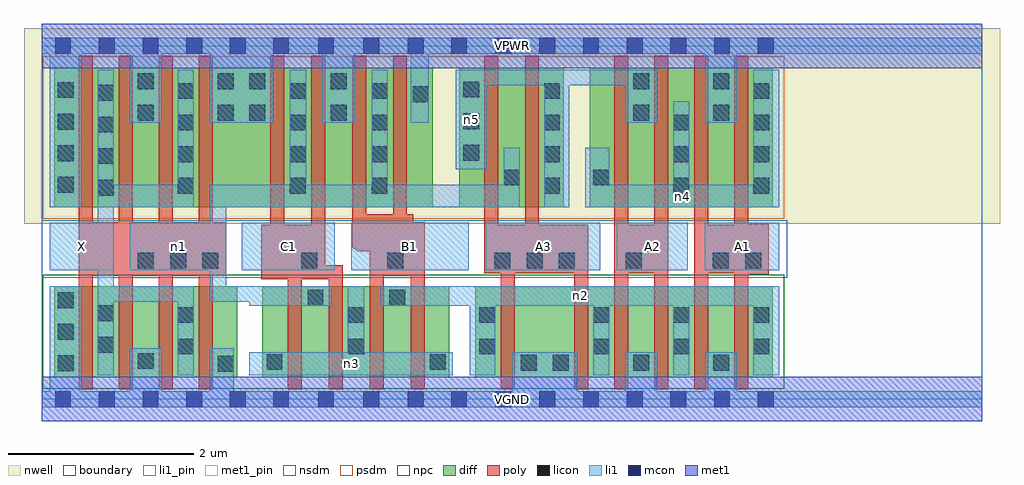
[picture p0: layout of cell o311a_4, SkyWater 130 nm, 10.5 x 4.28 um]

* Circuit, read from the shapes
.subckt o311a_4 A1 A2 A3 B1 C1 VGND VPWR X n1 n2 n3 n4 n5
XM1 X n1 VGND VSUBS sky130_fd_pr__nfet_01v8 w=0.98 l=0.15 m=4
XM2 n1 C1 n3 VSUBS sky130_fd_pr__nfet_01v8 w=0.98 l=0.15 m=2
XM3 n2 B1 n3 VSUBS sky130_fd_pr__nfet_01v8 w=0.98 l=0.15 m=2
XM4 VGND A3 n2 VSUBS sky130_fd_pr__nfet_01v8 w=0.98 l=0.15 m=2
XM5 VGND A2 n2 VSUBS sky130_fd_pr__nfet_01v8 w=0.98 l=0.15 m=2
XM6 VGND A1 n2 VSUBS sky130_fd_pr__nfet_01v8 w=0.98 l=0.15 m=2
XM7 X n1 VPWR n6 sky130_fd_pr__pfet_01v8 w=1.5 l=0.15 m=4
XM8 n1 C1 VPWR n6 sky130_fd_pr__pfet_01v8 w=1.5 l=0.15 m=2
XM9 n1 B1 VPWR n6 sky130_fd_pr__pfet_01v8 w=1.5 l=0.15 m=2
XM10 n1 A3 n5 n6 sky130_fd_pr__pfet_01v8 w=1.5 l=0.15 m=2
XM11 n5 A2 n4 n6 sky130_fd_pr__pfet_01v8 w=1.5 l=0.15 m=2
XM12 VPWR A1 n4 n6 sky130_fd_pr__pfet_01v8 w=1.5 l=0.15 m=2
.ends

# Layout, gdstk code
import gdstk
lib = gdstk.Library(unit=1e-6, precision=1e-09)
def R(c, l, rs):  # rectangles x0, y0, x1, y1
    for r in rs: c.add(gdstk.rectangle(r[:2], r[2:], *l))
def A(c, l, x, y, w, h, nx, ny, dx, dy):  # array of equal rectangles
    R(c, l, [(x+i*dx, y+j*dy, x+i*dx+w, y+j*dy+h) for i in range(nx) for j in range(ny)])
nwell = (64, 20)
diff = (65, 20)
poly = (66, 20)
licon = (66, 44)
li1_pin = (67, 16)
li1 = (67, 20)
mcon = (67, 44)
met1_pin = (68, 16)
met1 = (68, 20)
nsdm = (93, 44)
psdm = (94, 20)
npc = (95, 20)
boundary = (235, 4)

o311a_4 = lib.new_cell('o311a_4')
R(o311a_4, nwell, [(-0.19,1.885,10.31,3.99), (0,1.885,10.12,3.99)])
R(o311a_4, diff, [(0.135,0.235,2.105,1.215), (2.375,0.235,4.385,1.215), (4.665,0.235,7.865,1.215), (0.135,2.065,4.205,3.565), (4.495,2.065,5.615,3.565), (5.895,2.065,7.865,3.565)])
A(o311a_4, poly, 0.4, 0.105, 0.15, 3.59, 4, 1, 0.43, 0)
A(o311a_4, poly, 6.16, 0.105, 0.15, 3.59, 4, 1, 0.43, 0)
R(o311a_4, poly, [(2.65,0.105,2.8,1.875), (3.09,0.105,3.24,1.44), (3.53,0.105,3.68,1.99), (3.97,0.105,4.12,1.905), (4.94,0.105,5.09,1.875), (5.73,0.105,5.88,1.875), (2.36,1.29,3.05,1.875), (2.36,1.29,3.24,1.44), (2.46,1.29,2.61,3.695), (2.9,1.29,3.05,3.695), (0.4,1.325,1.985,1.905), (3.53,1.325,4.12,1.905), (3.78,1.325,3.93,3.695), (7.45,1.345,7.82,1.885), (4.76,1.355,5.88,1.875), (4.76,1.355,4.91,3.695), (5.2,1.355,5.35,3.695), (6.16,1.355,6.74,1.875), (7.02,1.355,7.82,1.875), (3.4,1.59,4.12,1.905), (3.395,1.595,4.12,1.905), (3.39,1.6,4.12,1.905), (3.38,1.605,4.12,1.905), (3.375,1.61,4.12,1.905), (3.37,1.615,4.12,1.905), (3.36,1.62,4.12,1.905), (3.35,1.625,4.12,1.905), (3.34,1.63,3.49,3.695), (3.34,1.63,4,1.99)])
A(o311a_4, licon, 0.175, 0.3, 0.17, 0.17, 1, 3, 0, 0.34)
A(o311a_4, licon, 5.935, 0.48, 0.17, 0.17, 3, 2, 0.86, 0.34)
A(o311a_4, licon, 0.605, 2.19, 0.17, 0.17, 1, 4, 0, 0.34)
A(o311a_4, licon, 1.465, 2.21, 0.17, 0.17, 1, 4, 0, 0.34)
A(o311a_4, licon, 2.67, 2.21, 0.17, 0.17, 1, 4, 0, 0.34)
A(o311a_4, licon, 3.55, 2.21, 0.17, 0.17, 1, 4, 0, 0.34)
A(o311a_4, licon, 5.405, 2.21, 0.17, 0.17, 1, 4, 0, 0.34)
A(o311a_4, licon, 6.795, 2.21, 0.17, 0.17, 1, 3, 0, 0.34)
A(o311a_4, licon, 7.655, 2.21, 0.17, 0.17, 1, 4, 0, 0.34)
A(o311a_4, licon, 0.175, 2.22, 0.17, 0.17, 1, 4, 0, 0.34)
A(o311a_4, licon, 4.535, 2.565, 0.17, 0.17, 1, 3, 0, 0.34)
R(o311a_4, licon, [(1.895,0.295,2.065,0.465), (5.155,0.305,5.325,0.475), (5.5,0.305,5.67,0.475), (6.365,0.305,6.535,0.475), (7.225,0.305,7.395,0.475), (2.42,0.315,2.59,0.485), (4.175,0.315,4.345,0.485), (1.035,0.325,1.205,0.495), (1.465,0.48,1.635,0.65), (3.3,0.48,3.47,0.65), (4.71,0.48,4.88,0.65), (0.605,0.5,0.775,0.67), (1.465,0.82,1.635,0.99), (3.3,0.82,3.47,0.99), (4.71,0.82,4.88,0.99), (0.605,0.84,0.775,1.01), (2.86,1.005,3.03,1.175), (3.74,1.005,3.91,1.175), (1.035,1.405,1.205,1.575), (1.385,1.405,1.555,1.575), (1.73,1.405,1.9,1.575), (2.795,1.405,2.965,1.575), (3.72,1.405,3.89,1.575), (4.87,1.405,5.04,1.575), (5.22,1.405,5.39,1.575), (5.565,1.405,5.735,1.575), (6.285,1.405,6.455,1.575), (7.22,1.405,7.39,1.575), (7.57,1.405,7.74,1.575), (4.97,2.3,5.14,2.47), (5.935,2.3,6.105,2.47), (1.035,2.995,1.205,3.165), (1.895,2.995,2.065,3.165), (2.235,2.995,2.405,3.165), (3.11,2.995,3.28,3.165), (6.365,2.995,6.535,3.165), (7.225,2.995,7.395,3.165), (3.99,3.195,4.16,3.365), (1.035,3.335,1.205,3.505), (1.895,3.335,2.065,3.505), (2.235,3.335,2.405,3.505), (3.11,3.335,3.28,3.505), (6.365,3.335,6.535,3.505), (7.225,3.335,7.395,3.505)])
R(o311a_4, li1_pin, [(0.085,1.385,0.775,1.895), (2.155,1.385,3.155,1.895), (3.33,1.385,4.595,1.895), (4.78,1.385,6.01,1.895), (6.185,1.385,6.95,1.895), (7.135,1.385,7.935,1.895)])
R(o311a_4, li1, [(0,-0.085,10.12,0.085), (0.085,-0.085,0.43,1.215), (0.95,-0.085,1.29,0.545), (1.81,-0.085,2.065,0.545), (5.06,-0.085,5.76,0.505), (6.28,-0.085,6.62,0.505), (7.14,-0.085,7.48,0.505), (0.605,0.255,0.775,3.545), (1.465,0.255,1.635,1.215), (2.235,0.255,4.425,0.505), (3.295,0.255,3.47,1.215), (4.605,0.255,4.88,1.215), (5.935,0.255,6.105,1.215), (6.795,0.255,6.965,1.215), (7.655,0.255,7.935,1.215), (2.235,1.005,3.12,1.215), (3.65,1.005,7.935,1.215), (0.605,1.045,1.635,1.215), (1.81,1.045,3.12,1.215), (1.81,1.045,1.985,2.305), (0.085,1.385,0.775,1.895), (0.95,1.385,1.985,1.895), (2.155,1.385,3.155,1.895), (3.33,1.385,4.595,1.895), (4.78,1.385,6.01,1.895), (6.185,1.385,6.95,1.895), (7.135,1.385,7.935,1.895), (0.085,2.065,0.43,3.885), (0.605,2.065,1.635,2.305), (1.465,2.065,1.635,3.545), (1.81,2.065,5.145,2.305), (2.67,2.065,2.845,3.545), (3.55,2.065,3.725,3.545), (4.97,2.065,5.145,2.705), (5.405,2.065,5.675,3.545), (5.85,2.065,7.935,2.305), (5.85,2.065,6.105,2.705), (6.795,2.065,6.965,3.205), (7.655,2.065,7.935,3.545), (4.455,2.475,4.79,3.545), (0.95,2.975,1.29,3.885), (1.81,2.975,2.49,3.885), (3.02,2.975,3.37,3.885), (3.97,2.975,4.165,3.885), (6.28,2.975,6.62,3.545), (7.14,2.975,7.48,3.885), (4.455,3.375,6.62,3.545), (0,3.715,10.12,3.885)])
A(o311a_4, mcon, 0.145, -0.085, 0.17, 0.17, 5, 2, 0.47, 3.8)
A(o311a_4, mcon, 2.49, -0.085, 0.17, 0.17, 3, 2, 0.485, 3.8)
A(o311a_4, mcon, 4.405, -0.085, 0.17, 0.17, 3, 2, 0.475, 3.8)
A(o311a_4, mcon, 5.825, -0.085, 0.17, 0.17, 5, 2, 0.47, 3.8)
R(o311a_4, mcon, [(3.94,-0.085,4.11,0.085), (3.94,3.715,4.11,3.885)])
R(o311a_4, met1_pin, [(0,-0.24,10.12,0.24), (0,3.56,10.12,4.04)])
R(o311a_4, met1, [(0,-0.24,10.12,0.24), (0,3.56,10.12,4.04)])
R(o311a_4, nsdm, [(0.01,0.11,7.99,1.34)])
R(o311a_4, psdm, [(0.01,1.94,7.99,3.69)])
R(o311a_4, npc, [(0,1.305,8.02,1.925)])
R(o311a_4, boundary, [(0,0,10.12,3.8)])
o311a_4.add(gdstk.Label('A1', (7.535,1.64), layer=67, texttype=5))
o311a_4.add(gdstk.Label('A2', (6.567,1.64), layer=67, texttype=5))
o311a_4.add(gdstk.Label('A3', (5.395,1.64), layer=67, texttype=5))
o311a_4.add(gdstk.Label('B1', (3.962,1.64), layer=67, texttype=5))
o311a_4.add(gdstk.Label('C1', (2.655,1.64), layer=67, texttype=5))
o311a_4.add(gdstk.Label('X', (0.43,1.64), layer=67, texttype=5))
o311a_4.add(gdstk.Label('n3', (3.33,0.38), layer=67, texttype=5))
o311a_4.add(gdstk.Label('n2', (5.792,1.11), layer=67, texttype=5))
o311a_4.add(gdstk.Label('n1', (1.467,1.64), layer=67, texttype=5))
o311a_4.add(gdstk.Label('n5', (4.622,3.01), layer=67, texttype=5))
o311a_4.add(gdstk.Label('n4', (6.892,2.185), layer=67, texttype=5))
o311a_4.add(gdstk.Label('VPWR', (5.06,3.8), layer=68, texttype=5))
o311a_4.add(gdstk.Label('VGND', (5.06,0), layer=68, texttype=5))
o311a_4.add(gdstk.Label('A1', (7.535,1.64), layer=67, texttype=16))
o311a_4.add(gdstk.Label('A2', (6.567,1.64), layer=67, texttype=16))
o311a_4.add(gdstk.Label('A3', (5.395,1.64), layer=67, texttype=16))
o311a_4.add(gdstk.Label('B1', (3.962,1.64), layer=67, texttype=16))
o311a_4.add(gdstk.Label('C1', (2.655,1.64), layer=67, texttype=16))
o311a_4.add(gdstk.Label('X', (0.43,1.64), layer=67, texttype=16))
o311a_4.add(gdstk.Label('VPWR', (5.06,3.8), layer=68, texttype=16))
o311a_4.add(gdstk.Label('VGND', (5.06,0), layer=68, texttype=16))

lib.write_gds('o311a_4.gds')
